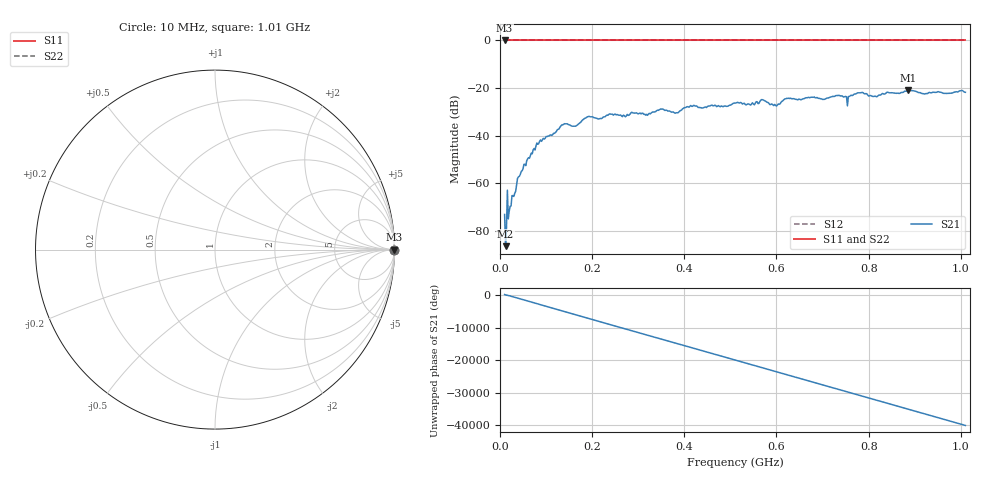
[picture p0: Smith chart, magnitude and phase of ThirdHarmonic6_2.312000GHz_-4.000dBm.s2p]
! 8/17/2025 3:12:55 AM
! C:\ANRITSUVNA\TEMP\TEMP.S2P
! CHANNEL.1
! TR.MEASUREMENT
! RAW.DATA
! RF.CORRECTION.OFF
! AVERAGING.OFF
! IF.BANDWIDTH: 5KHZ
! SWEEPTYPE:  FREQ.SWEEP(Linear)
! Reference Plane Port Info
! PORT:  PORT1  PORT2
! DISTANCE:  0  m  0  m
! TIME:  0  s  0  s
! PHASE.OFFSET:  0  deg.  0  deg.
! LOSS:  0  dB  0  dB
! REF.LOSS:  0  dB  0  dB
! REF.FREQ:  0  Hz  0  Hz
! Power Info
! POWER:  -20  dBm  -20  dBm
! EFF.POWER:  -20  dBm  -20  dBm
! SOURCE.ATTEN:  0  dB  0  dB
! TEST.ATTEN:  0  dB  0  dB
# GHZ S RI R 50.0
! FREQ.GHZ  S11RE  S11IM  S21RE  S21IM  S12RE  S12IM  S22RE  S22IM
!; PortSelection: Port_12
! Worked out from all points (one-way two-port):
!   501 points, 10 MHz to 1.01 GHz, reference 50 ohm
!   highest |S21| = -20.88 dB at 886 MHz (marker M1); lowest = -86.5 dB at 12 MHz (marker M2)
!   lowest |S11| = 0.0 dB at 10 MHz (marker M3)
!   |S11| at or under -10 dB: nowhere
!   |S22| runs from 0.0 to 0.0 dB; largest |S21 - S12| = 1.1
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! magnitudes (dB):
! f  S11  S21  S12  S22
! 10 MHz  0.0  -73.2  0.0  0.0
! 12 MHz  0.0  -86.5  0.0  0.0
! 16 MHz  0.0  -63.0  0.0  0.0
! 42 MHz  0.0  -57.1  0.0  0.0
! 84 MHz  0.0  -43.4  0.0  0.0
! 136 MHz  0.0  -35.5  0.0  0.0
! 162 MHz  0.0  -36.1  0.0  0.0
! 178 MHz  0.0  -33.6  0.0  0.0
! 344 MHz  0.0  -29.4  0.0  0.0
! 382 MHz  0.0  -30.4  0.0  0.0
! 418 MHz  0.0  -27.7  0.0  0.0
! 510 MHz  0.0  -26.3  0.0  0.0
! 570 MHz  0.0  -24.9  0.0  0.0
! 598 MHz  0.0  -27.3  0.0  0.0
! 622 MHz  0.0  -24.4  0.0  0.0
! 678 MHz  0.0  -23.9  0.0  0.0
! 750 MHz  0.0  -23.6  0.0  0.0
! 780 MHz  0.0  -22.0  0.0  0.0
! 814 MHz  0.0  -23.4  0.0  0.0
! 844 MHz  0.0  -22.0  0.0  0.0
! 886 MHz  0.0  -20.9  0.0  0.0
! 1.01 GHz  0.0  -21.8  0.0  0.0
